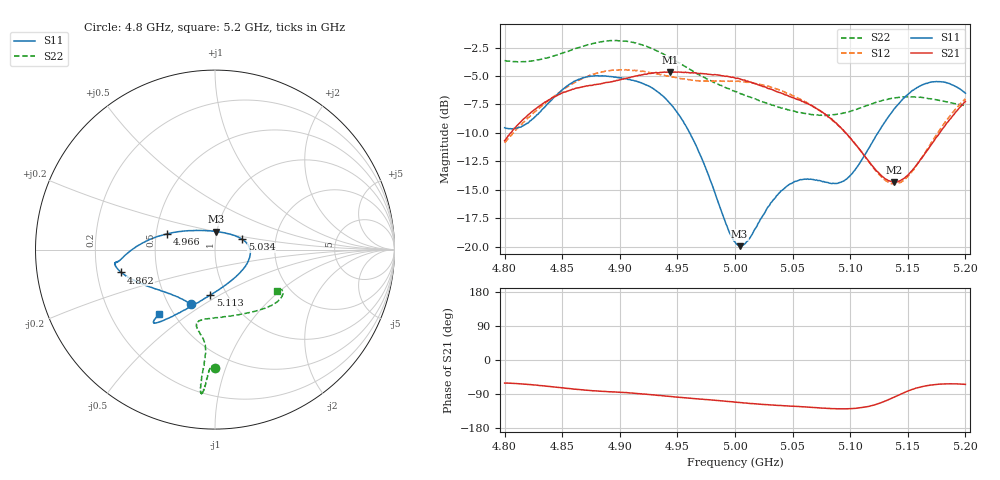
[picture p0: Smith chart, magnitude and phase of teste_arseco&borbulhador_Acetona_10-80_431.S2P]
! Network Analyzer HP8722D
! Hewlett-Packard
! Data name: Linha & Wilkinson
! Saver's name: Rodrigo Anjos
! Comments: Teste da utilização de aquisição
! continua pelo VNA HP8722D
! Time and date: 17/4/2025 17:57
!  Frequency  S11  S21  S12  S22
# HZ  S  MA R 50
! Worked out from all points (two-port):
!   401 points, 4.8 GHz to 5.2 GHz, reference 50 ohm
!   highest |S21| = -4.64 dB at 4.944 GHz (marker M1); lowest = -14.3 dB at 5.138 GHz (marker M2)
!   |S21| within 3 dB of the highest: 4.83 GHz to 5.067 GHz (237.1 MHz wide, 4.79 % of centre); 5.19624 GHz to end of sweep
!   lowest |S11| = -20.0 dB at 5.004 GHz (marker M3), VSWR 1.22, Z = 49.8 + j10.1 ohm
!   |S11| at or under -10 dB: 4.961 GHz to 5.124 GHz (163.4 MHz wide, 3.24 % of centre)
!   |S22| runs from -8.5 to -1.9 dB; largest |S21 - S12| = 0.88
!   S11 on the Smith chart (normalised r, x): 4.8 GHz: 0.64, -0.44; 4.862 GHz: 0.30, -0.11; 4.966 GHz: 0.57, +0.11; 5.034 GHz: 1.35, +0.16; 5.113 GHz: 0.84, -0.45; 5.2 GHz: 0.42, -0.39
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4.8e9  0.3334 -113.6  0.2922 -60.9  0.2863 -175.0  0.6576 -90.1
4.819e9  0.3475 -133.6  0.3735 -64.0  0.3617 -173.7  0.6527 -91.7
4.862e9  0.5377 -166.3  0.4978 -77.1  0.5315 -177.0  0.7447 -93.9
4.867e9  0.5502 -168.2  0.503 -78.8  0.5468 -178.0  0.7582 -94.1
4.899e9  0.5533 -172.8  0.5393 -85.1  0.5986 175.5  0.8036 -95.6
4.934e9  0.4752 -178.9  0.5815 -93.7  0.573 171.8  0.7177 -96.0
4.944e9  0.4244 176.6  0.5862 -96.3  0.5597 171.9  0.675 -95.7
4.966e9  0.2796 161.6  0.5805 -101.9  0.5371 173.8  0.5805 -95.1
5e9  0.1047 99.1  0.5508 -111.2  0.5345 176.1  0.4808 -99.4
5.004e9  0.1005 85.3  0.5469 -112.1  0.5324 176.1  0.4728 -100.2
5.012e9  0.1078 59.9  0.531 -114.5  0.5274 175.9  0.456 -102.1
5.034e9  0.1619 20.8  0.4857 -119.2  0.4982 174.7  0.417 -103.7
5.05e9  0.191 4.6  0.4525 -122.0  0.4616 174.1  0.3949 -99.6
5.067e9  0.1974 -13.8  0.416 -125.2  0.4171 173.6  0.381 -90.6
5.093e9  0.1931 -58.3  0.3286 -128.7  0.3284 173.9  0.3852 -70.4
5.113e9  0.2543 -95.8  0.2486 -124.1  0.248 -179.8  0.4147 -54.8
5.134e9  0.3771 -116.8  0.1946 -103.7  0.1907 -156.7  0.447 -43.0
5.138e9  0.4022 -119.1  0.192 -98.2  0.1888 -150.3  0.4501 -41.1
5.151e9  0.4715 -124.9  0.2087 -80.9  0.2062 -130.4  0.456 -36.4
5.17e9  0.5287 -129.2  0.2792 -66.1  0.2846 -112.3  0.4469 -32.0
5.184e9  0.5248 -130.6  0.3506 -63.0  0.3616 -107.2  0.4329 -31.1
5.2e9  0.4728 -131.0  0.4347 -64.4  0.4466 -106.6  0.4162 -33.5
